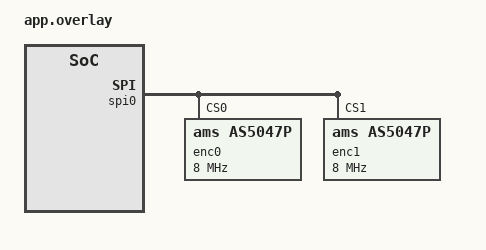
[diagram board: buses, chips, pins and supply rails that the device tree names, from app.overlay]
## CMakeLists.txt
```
cmake_minimum_required(VERSION 3.20.0)
find_package(Zephyr REQUIRED HINTS $ENV{ZEPHYR_BASE})
project(encoder_as5047p)

target_sources(app PRIVATE src/main.c)
```

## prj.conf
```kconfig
CONFIG_ZTEST=y
CONFIG_SPI=y
CONFIG_EMUL=y
CONFIG_SPI_EMUL=y
CONFIG_ENCODER=y
# The driver polls at 1 ms; the default native_sim tick would round that up to 10 ms.
CONFIG_SYS_CLOCK_TICKS_PER_SEC=10000
```

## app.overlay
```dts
&spi0 {
	enc0: as5047p@0 {
		compatible = "ams,as5047p";
		reg = <0>;
		spi-max-frequency = <8000000>;
		poll-interval-us = <1000>;
		offline-threshold = <3>;
	};

	enc1: as5047p@1 {
		compatible = "ams,as5047p";
		reg = <1>;
		spi-max-frequency = <8000000>;
		poll-interval-us = <1000>;
		invert-direction;
	};
};
```

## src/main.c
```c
/*
 * Copyright (c) 2026
 * SPDX-License-Identifier: Apache-2.0
 */

#define DT_DRV_COMPAT ams_as5047p

#include <errno.h>
#include <string.h>

#include <zephyr/device.h>
#include <zephyr/devicetree.h>
#include <zephyr/drivers/emul.h>
#include <zephyr/drivers/spi.h>
#include <zephyr/drivers/spi_emul.h>
#include <zephyr/kernel.h>
#include <zephyr/sys/util.h>
#include <zephyr/ztest.h>

#include <drivers/encoder.h>
#include <drivers/encoder/as5047p.h>

#define REG_NOP      0x0000U
#define REG_ERRFL    0x0001U
#define REG_ZPOSM    0x0016U
#define REG_ZPOSL    0x0017U
#define REG_DIAAGC   0x3FFCU
#define REG_ANGLECOM 0x3FFFU

#define FRAME_RW     BIT(14)
#define FRAME_EF     BIT(14)
#define FRAME_PARITY BIT(15)
#define DATA_MASK    GENMASK(13, 0)
#define ANGLE_MASK   GENMASK(13, 0)

/* Error flag enables in the upper bits of ZPOSL, which a change of the zero
 * position must leave alone. */
#define ZPOSL_KEEP GENMASK(7, 6)

enum inject {
	INJECT_NONE,
	INJECT_SPI,
	INJECT_PARITY,
	INJECT_FLAG,
};

struct as5047p_emul_data {
	/* Angle before the zero position is subtracted. */
	uint16_t raw_angle;
	uint16_t zposm;
	uint16_t zposl;
	uint16_t diaagc;
	uint16_t errfl;
	uint16_t pending_response;
	uint16_t pending_write_addr;
	bool write_pending;
	/* Applied to the next inject_count reads of ANGLECOM. */
	enum inject inject;
	int inject_count;
	bool inject_forever;
};

static bool even_parity(uint16_t frame)
{
	return (__builtin_popcount(frame) & 1) == 0;
}

static uint16_t with_parity(uint16_t frame)
{
	return even_parity(frame) ? frame : (frame | FRAME_PARITY);
}

static uint16_t emul_read_reg(struct as5047p_emul_data *data, uint16_t reg)
{
	uint16_t zpos;
	uint16_t value;

	switch (reg) {
	case REG_ERRFL:
		value = data->errfl;
		data->errfl = 0;
		return value;
	case REG_ZPOSM:
		return data->zposm;
	case REG_ZPOSL:
		return data->zposl;
	case REG_DIAAGC:
		return data->diaagc;
	case REG_ANGLECOM:
		zpos = ((data->zposm & 0xffU) << 6) | (data->zposl & 0x3fU);
		return (data->raw_angle - zpos) & ANGLE_MASK;
	default:
		return 0;
	}
}

static void emul_write_reg(struct as5047p_emul_data *data, uint16_t reg, uint16_t value)
{
	switch (reg) {
	case REG_ZPOSM:
		data->zposm = value & 0xffU;
		break;
	case REG_ZPOSL:
		data->zposl = value & 0xffU;
		break;
	default:
		break;
	}
}

static bool take_injection(struct as5047p_emul_data *data, enum inject *kind)
{
	if (data->inject == INJECT_NONE) {
		return false;
	}

	*kind = data->inject;

	if (!data->inject_forever && --data->inject_count <= 0) {
		data->inject = INJECT_NONE;
	}

	return true;
}

static int as5047p_emul_io(const struct emul *target, const struct spi_config *config,
			   const struct spi_buf_set *tx_bufs, const struct spi_buf_set *rx_bufs)
{
	struct as5047p_emul_data *data = target->data;
	const uint8_t *tx;
	uint8_t *rx;
	uint16_t frame;
	uint16_t payload;
	uint16_t next = 0;
	bool ef = false;
	bool corrupt = false;
	enum inject kind;

	if ((SPI_WORD_SIZE_GET(config->operation) != 8U) ||
	    ((config->operation & SPI_MODE_CPHA) == 0U) ||
	    ((config->operation & SPI_MODE_CPOL) != 0U)) {
		return -EIO;
	}

	if (tx_bufs == NULL || rx_bufs == NULL || tx_bufs->count != 1 || rx_bufs->count != 1 ||
	    tx_bufs->buffers[0].len != 2 || rx_bufs->buffers[0].len != 2) {
		return -EIO;
	}

	tx = tx_bufs->buffers[0].buf;
	rx = rx_bufs->buffers[0].buf;
	frame = ((uint16_t)tx[0] << 8) | tx[1];

	if (!even_parity(frame)) {
		data->write_pending = false;
		data->errfl |= AS5047P_ERRFL_PARERR;
		ef = true;
	} else if (data->write_pending) {
		emul_write_reg(data, data->pending_write_addr, frame & DATA_MASK);
		data->write_pending = false;
		next = emul_read_reg(data, data->pending_write_addr);
	} else if ((frame & FRAME_RW) != 0U) {
		payload = frame & DATA_MASK;

		if (payload == REG_ANGLECOM && take_injection(data, &kind)) {
			if (kind == INJECT_SPI) {
				return -EIO;
			} else if (kind == INJECT_PARITY) {
				corrupt = true;
			} else {
				data->errfl |= AS5047P_ERRFL_FRERR;
				ef = true;
			}
		}

		next = emul_read_reg(data, payload);
	} else {
		data->pending_write_addr = frame & DATA_MASK;
		data->write_pending = true;
	}

	/* The response to this frame was decided by the previous one. */
	rx[0] = data->pending_response >> 8;
	rx[1] = data->pending_response & 0xffU;

	data->pending_response = with_parity((next & DATA_MASK) | (ef ? FRAME_EF : 0U));
	if (corrupt) {
		data->pending_response ^= BIT(0);
	}

	return 0;
}

static int as5047p_emul_init(const struct emul *target, const struct device *parent)
{
	struct as5047p_emul_data *data = target->data;

	ARG_UNUSED(parent);
	memset(data, 0, sizeof(*data));
	data->pending_response = with_parity(0);
	data->zposl = ZPOSL_KEEP;

	return 0;
}

static const struct spi_emul_api as5047p_emul_api = {
	.io = as5047p_emul_io,
};

#define AS5047P_EMUL_DEFINE(inst)                                                                  \
	static struct as5047p_emul_data as5047p_emul_data_##inst;                                  \
	EMUL_DT_INST_DEFINE(inst, as5047p_emul_init, &as5047p_emul_data_##inst, NULL,              \
			    &as5047p_emul_api, NULL);

DT_INST_FOREACH_STATUS_OKAY(AS5047P_EMUL_DEFINE)

static const struct device *const enc0 = DEVICE_DT_GET(DT_NODELABEL(enc0));
static const struct device *const enc1 = DEVICE_DT_GET(DT_NODELABEL(enc1));

static struct as5047p_emul_data *emul0(void)
{
	return EMUL_DT_GET(DT_NODELABEL(enc0))->data;
}

static struct as5047p_emul_data *emul1(void)
{
	return EMUL_DT_GET(DT_NODELABEL(enc1))->data;
}

/* The poll threads only run while the test thread sleeps. Three intervals
 * leave room for one poll to land on either side of the boundary. */
static void let_polls_run(void)
{
	k_sleep(K_MSEC(3));
}

static void inject(struct as5047p_emul_data *data, enum inject kind, int count)
{
	data->inject_count = count;
	data->inject_forever = false;
	data->inject = kind;
}

static int get(const struct device *dev, struct encoder_feedback *fb)
{
	memset(fb, 0, sizeof(*fb));
	return encoder_get_feedback(dev, fb);
}

static uint32_t total_errors(const struct as5047p_stats *stats)
{
	uint32_t sum = 0;

	for (int i = 0; i < AS5047P_ERROR_CAUSE_COUNT; i++) {
		sum += stats->errors[i];
	}

	return sum;
}

ZTEST(encoder_as5047p, test_devices_ready)
{
	zassert_true(device_is_ready(enc0));
	zassert_true(device_is_ready(enc1));
}

ZTEST(encoder_as5047p, test_resolution_is_14_bits)
{
	uint8_t resolution = 0;

	zassert_ok(encoder_get_resolution(enc0, &resolution));
	zassert_equal(resolution, AS5047P_ANGLE_BITS);
}

ZTEST(encoder_as5047p, test_position_starts_at_the_absolute_angle)
{
	struct encoder_feedback fb;

	emul0()->raw_angle = 1234;
	zassert_ok(encoder_reset(enc0));
	let_polls_run();

	zassert_ok(get(enc0, &fb));
	zassert_equal(fb.position, 1234);
	zassert_equal(fb.single_turn, 1234);
	zassert_true(fb.online);
	zassert_false(fb.stale);
	zassert_true((fb.valid_mask & ENCODER_FEEDBACK_SINGLE_TURN) != 0U);
}

ZTEST(encoder_as5047p, test_position_continues_across_the_wrap)
{
	struct encoder_feedback before;
	struct encoder_feedback after;

	emul0()->raw_angle = 16000;
	let_polls_run();
	zassert_ok(get(enc0, &before));

	emul0()->raw_angle = 100;
	let_polls_run();
	zassert_ok(get(enc0, &after));

	zassert_equal(after.position - before.position, 16384 - 16000 + 100);
	zassert_equal(after.position_epoch, before.position_epoch);
	zassert_true((after.valid_mask & ENCODER_FEEDBACK_VELOCITY) != 0U);
}

ZTEST(encoder_as5047p, test_invert_direction_flips_position_but_not_single_turn)
{
	struct encoder_feedback before;
	struct encoder_feedback after;

	emul1()->raw_angle = 1000;
	zassert_ok(encoder_reset(enc1));
	let_polls_run();
	zassert_ok(get(enc1, &before));
	zassert_equal(before.position, -1000);

	emul1()->raw_angle = 1100;
	let_polls_run();
	zassert_ok(get(enc1, &after));

	zassert_equal(after.position - before.position, -100);
	zassert_equal(after.single_turn, 1100);
}

ZTEST(encoder_as5047p, test_set_position_offsets_without_new_epoch)
{
	struct encoder_feedback before;
	struct encoder_feedback after;

	emul0()->raw_angle = 500;
	let_polls_run();
	zassert_ok(get(enc0, &before));

	zassert_ok(encoder_set_position(enc0, 0));
	emul0()->raw_angle = 600;
	let_polls_run();
	zassert_ok(get(enc0, &after));

	zassert_equal(after.position, 100);
	zassert_equal(after.position_epoch, before.position_epoch);
}

ZTEST(encoder_as5047p, test_corrupted_frame_is_stale_and_counted_as_parity)
{
	struct as5047p_stats before;
	struct as5047p_stats after;
	struct encoder_feedback fb;

	let_polls_run();
	zassert_ok(as5047p_get_stats(enc0, &before));

	/* Fail every read until checked, so the stale state is still there. */
	emul0()->inject_forever = true;
	emul0()->inject = INJECT_PARITY;
	k_sleep(K_USEC(1500));

	zassert_equal(get(enc0, &fb), -EAGAIN);
	zassert_true(fb.stale);
	zassert_true(fb.online);

	emul0()->inject = INJECT_NONE;
	zassert_ok(as5047p_get_stats(enc0, &after));
	zassert_true(after.errors[AS5047P_ERROR_PARITY] > before.errors[AS5047P_ERROR_PARITY]);
	zassert_equal(after.errors[AS5047P_ERROR_FLAG], before.errors[AS5047P_ERROR_FLAG]);

	let_polls_run();
	zassert_ok(get(enc0, &fb));
	zassert_false(fb.stale);
}

ZTEST(encoder_as5047p, test_error_flag_is_counted_with_the_latched_cause)
{
	struct as5047p_stats before;
	struct as5047p_stats after;

	let_polls_run();
	zassert_ok(as5047p_get_stats(enc0, &before));

	inject(emul0(), INJECT_FLAG, 1);
	let_polls_run();

	zassert_ok(as5047p_get_stats(enc0, &after));
	zassert_equal(after.errors[AS5047P_ERROR_FLAG], before.errors[AS5047P_ERROR_FLAG] + 1);
	zassert_equal(after.last_errfl, AS5047P_ERRFL_FRERR);
	zassert_equal(emul0()->errfl, 0, "the driver should clear ERRFL by reading it");
}

ZTEST(encoder_as5047p, test_spi_failure_is_counted_and_adds_to_error_count)
{
	struct as5047p_stats before;
	struct as5047p_stats after;
	struct encoder_feedback fb_before;
	struct encoder_feedback fb_after;

	let_polls_run();
	zassert_ok(as5047p_get_stats(enc0, &before));
	zassert_ok(get(enc0, &fb_before));

	inject(emul0(), INJECT_SPI, 1);
	let_polls_run();

	zassert_ok(as5047p_get_stats(enc0, &after));
	zassert_ok(get(enc0, &fb_after));
	zassert_equal(after.errors[AS5047P_ERROR_SPI], before.errors[AS5047P_ERROR_SPI] + 1);
	zassert_equal(fb_after.error_count - fb_before.error_count,
		      total_errors(&after) - total_errors(&before));
}

ZTEST(encoder_as5047p, test_goes_offline_and_rebuilds_with_new_epoch)
{
	struct encoder_feedback before;
	struct encoder_feedback fb;

	let_polls_run();
	zassert_ok(get(enc0, &before));

	emul0()->inject_forever = true;
	emul0()->inject = INJECT_SPI;
	k_sleep(K_MSEC(5));

	zassert_equal(get(enc0, &fb), -EIO);
	zassert_false(fb.online);

	emul0()->inject = INJECT_NONE;
	emul0()->raw_angle = 4321;
	let_polls_run();

	zassert_ok(get(enc0, &fb));
	zassert_true(fb.online);
	zassert_equal(fb.position, 4321);
	zassert_not_equal(fb.position_epoch, before.position_epoch);
}

ZTEST(encoder_as5047p, test_set_zero_makes_the_current_angle_read_zero)
{
	struct encoder_feedback before;
	struct encoder_feedback fb;
	uint16_t zero = 0;

	emul0()->raw_angle = 3000;
	let_polls_run();
	zassert_ok(get(enc0, &before));

	zassert_ok(encoder_set_zero(enc0));
	zassert_ok(as5047p_get_zero_position(enc0, &zero));
	zassert_equal(zero, 3000);
	zassert_equal(emul0()->zposl & ZPOSL_KEEP, ZPOSL_KEEP);

	let_polls_run();
	zassert_ok(get(enc0, &fb));
	zassert_equal(fb.single_turn, 0);
	zassert_equal(fb.position, 0);
	zassert_not_equal(fb.position_epoch, before.position_epoch);
}

ZTEST(encoder_as5047p, test_zero_position_round_trips_and_keeps_zposl_flags)
{
	uint16_t zero = 0;

	zassert_ok(as5047p_set_zero_position(enc0, 0x2aaa));
	zassert_equal(emul0()->zposm, 0xaa);
	zassert_equal(emul0()->zposl & 0x3fU, 0x2a);
	zassert_equal(emul0()->zposl & ZPOSL_KEEP, ZPOSL_KEEP);

	zassert_ok(as5047p_get_zero_position(enc0, &zero));
	zassert_equal(zero, 0x2aaa);

	zassert_equal(as5047p_set_zero_position(enc0, 0x4000), -EINVAL);
}

ZTEST(encoder_as5047p, test_read_diag_decodes_diaagc)
{
	struct as5047p_diag diag;

	emul0()->diaagc = BIT(11) | BIT(8) | 0xc8;
	zassert_ok(as5047p_read_diag(enc0, &diag));

	zassert_equal(diag.agc, 0xc8);
	zassert_true(diag.magl);
	zassert_false(diag.magh);
	zassert_false(diag.cof);
	zassert_true(diag.lf);
}

ZTEST(encoder_as5047p, test_driver_api_rejects_other_devices)
{
	struct as5047p_stats stats;
	const struct device *spi = DEVICE_DT_GET(DT_NODELABEL(spi0));

	zassert_equal(as5047p_get_stats(spi, &stats), -EINVAL);
	zassert_equal(as5047p_get_stats(enc0, NULL), -EINVAL);
}

static void before_each(void *fixture)
{
	ARG_UNUSED(fixture);

	emul0()->inject = INJECT_NONE;
	emul0()->inject_forever = false;
	emul1()->inject = INJECT_NONE;
	emul1()->inject_forever = false;
	emul0()->zposm = 0;
	emul0()->zposl = ZPOSL_KEEP;
	emul0()->raw_angle = 0;
	zassert_ok(encoder_reset(enc0));
	let_polls_run();
}

ZTEST_SUITE(encoder_as5047p, NULL, NULL, before_each, NULL, NULL);
```
